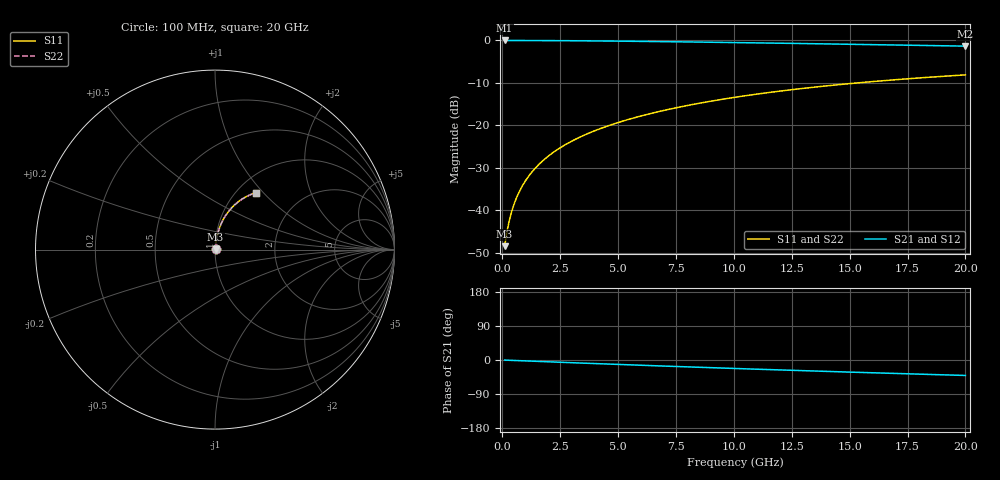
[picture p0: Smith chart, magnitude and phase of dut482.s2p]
! Touchstone file exported from HFSS 2024.1.0
!  File:  C:/UserFiles/LocalFiles/RDL_TSV_Batchsim/temp_RDL_bottom_482_1779686470.aedt
!  Generated:  01:23:21 PM May 25, 2026
!  Design:  RDL_bottom
!  Project:  temp_RDL_bottom_482_1779686470
!  Setup:  Setup1
!  Solution:  Sweep
! Variables:
!  dtsv = 10.80580581um
!  hbump = 3um
!  htsv = 72.06um
!  ldown = 600.54um
!  lrdl = 100um
!  p = 40
!  p1 = 41.17um
!  rhole = 1um
!  t = 450um
!  tdown = 4.89um
!  trdl = 3.915915916um
!  wdown = 15.19um
!  wrdl = 20um
# GHz S MA R 50.000000
! Terminal data exported
! Port[1] = RDL1_T1
! Port[2] = RDL1_T2
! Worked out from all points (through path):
!   200 points, 100 MHz to 20 GHz, reference 50 ohm
!   highest |S21| = -0.03 dB at 100 MHz (marker M1); lowest = -1.4 dB at 20 GHz (marker M2)
!   group delay of S21, straight-line fit = 5.64 ps
!   lowest |S11| = -48.5 dB at 100 MHz (marker M3), VSWR 1.01, Z = 50.3 + j0.233 ohm
!   |S11| at or under -10 dB: start of sweep to 15.39 GHz
!   |S22| runs from -48.5 to -8.1 dB; largest |S21 - S12| = 5.4e-15
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0.1  0.003759 38.0  0.997 -0.2  0.997 -0.2  0.003759 38.0
! Gamma 0 0 0 0
! Port Impedance 50 0 50 0
0.2  0.005512 56.0  0.9969 -0.5  0.9969 -0.5  0.005512 56.0
0.3  0.007488 64.5  0.9968 -0.7  0.9968 -0.7  0.007488 64.5
0.4  0.009525 69.4  0.9966 -1.0  0.9966 -1.0  0.009524 69.4
0.5  0.01159 72.6  0.9965 -1.2  0.9965 -1.2  0.01159 72.6
0.6  0.01367 74.8  0.9964 -1.5  0.9964 -1.5  0.01367 74.8
0.8  0.01788 77.6  0.9961 -1.9  0.9961 -1.9  0.01788 77.6
1.1  0.02426 79.9  0.9956 -2.7  0.9956 -2.7  0.02426 79.9
1.5  0.03281 81.2  0.9947 -3.6  0.9947 -3.6  0.03281 81.2
1.8  0.03924 81.7  0.9939 -4.3  0.9939 -4.3  0.03924 81.7
2.1  0.04567 81.9  0.993 -5.0  0.993 -5.0  0.04567 81.9
2.7  0.05852 81.8  0.9908 -6.4  0.9908 -6.4  0.05852 81.8
3.5  0.0756 81.1  0.9873 -8.3  0.9873 -8.3  0.07561 81.1
4.2  0.09052 80.4  0.9836 -9.9  0.9836 -9.9  0.09052 80.4
5  0.1075 79.4  0.979 -11.7  0.979 -11.7  0.1075 79.4
5.9  0.1266 78.2  0.9732 -13.7  0.9732 -13.7  0.1266 78.2
6.8  0.1457 76.8  0.967 -15.6  0.967 -15.6  0.1457 76.8
8.4  0.1793 74.3  0.9551 -19.0  0.9551 -19.0  0.1793 74.3
10.1  0.2144 71.4  0.9415 -22.5  0.9415 -22.5  0.2145 71.4
13.4  0.2796 65.6  0.9134 -29.0  0.9134 -29.0  0.2796 65.6
16.7  0.339 59.8  0.8841 -35.0  0.8841 -35.0  0.339 59.8
20  0.3918 54.2  0.8546 -40.8  0.8546 -40.8  0.3918 54.2
